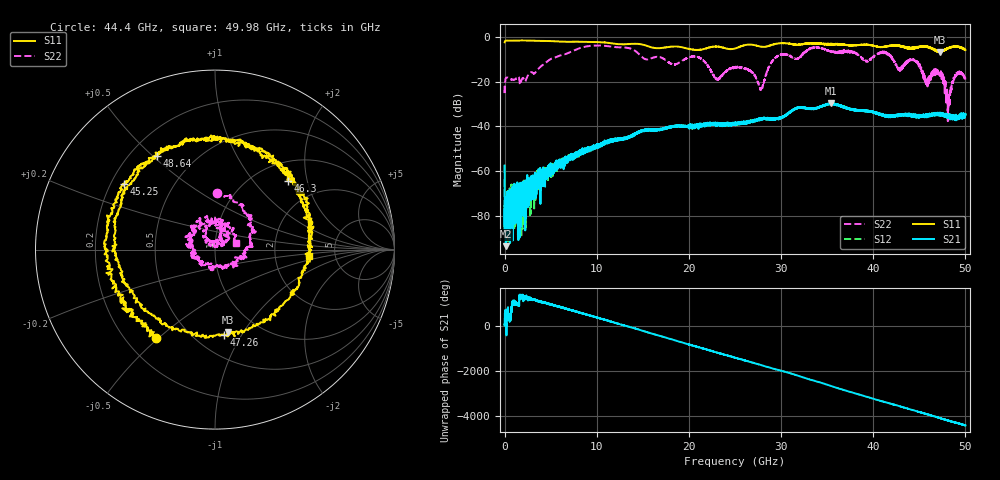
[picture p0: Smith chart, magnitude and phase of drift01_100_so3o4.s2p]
!Created with skrf (http://scikit-rf.org).
# Hz S RI R 50.0
!freq ReS11 ImS11 ReS21 ImS21 ReS12 ImS12 ReS22 ImS22
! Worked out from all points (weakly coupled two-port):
!   10001 points, 300 kHz to 50 GHz, reference 50 ohm
!   highest |S21| = -29.53 dB at 35.44 GHz (marker M1); lowest = -93.8 dB at 130.3 MHz (marker M2)
!   lowest |S11| = -6.6 dB at 47.24 GHz (marker M3), VSWR 2.75, Z = 36.3 - j42.8 ohm
!   |S11| at or under -10 dB: nowhere
!   |S22| runs from -37.6 to -3.6 dB; largest |S21 - S12| = 0.004
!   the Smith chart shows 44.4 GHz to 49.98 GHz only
!   S11 on the Smith chart (normalised r, x): 44.4 GHz: 0.32, -0.49; 45.25 GHz: 0.25, +0.30; 46.3 GHz: 1.37, +1.53; 47.26 GHz: 0.68, -0.84; 48.64 GHz: 0.31, +0.51; 49.98 GHz: 3.19, -0.33
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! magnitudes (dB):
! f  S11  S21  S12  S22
! 300 kHz  -2.1  -57.5  -63.8  -21.8
! 130.3 MHz  -1.5  -93.8  -72.0  -18.3
! 8.335 GHz  -1.9  -51.0  -51.7  -4.5
! 16.67 GHz  -4.8  -41.7  -41.4  -8.7
! 20.96 GHz  -5.6  -39.9  -39.5  -8.8
! 23.07 GHz  -4.1  -38.3  -38.6  -18.8
! 25 GHz  -5.0  -38.9  -38.5  -13.7
! 27.84 GHz  -4.1  -36.4  -36.6  -23.0
! 29.46 GHz  -2.9  -36.2  -36.5  -8.8
! 33.34 GHz  -2.6  -32.1  -32.1  -4.8
! 35.44 GHz  -3.0  -29.5  -29.8  -6.3
! 41.67 GHz  -3.9  -35.4  -35.3  -7.6
! 42.84 GHz  -3.9  -35.2  -35.0  -14.2
! 44.4 GHz  -4.5  -34.8  -35.2  -10.0
! 45.25 GHz  -4.0  -35.2  -35.4  -15.0
! 46.3 GHz  -5.1  -34.7  -34.5  -16.6
! 47.24 GHz  -6.6  -34.1  -34.2  -17.3
! 47.26 GHz  -6.5  -34.3  -34.5  -17.2
! 48.13 GHz  -4.8  -35.6  -34.9  -32.1
! 48.64 GHz  -4.2  -36.7  -36.2  -20.4
! 49.98 GHz  -5.6  -34.9  -34.7  -18.2
! 50 GHz  -5.7  -34.5  -34.8  -18.5
